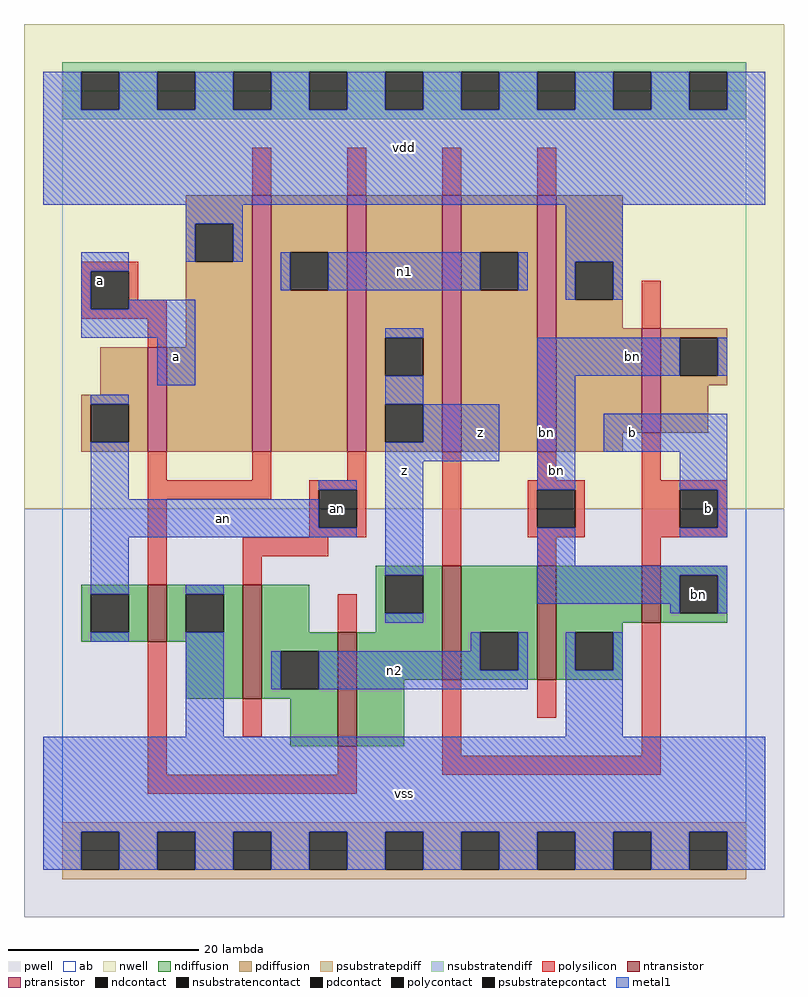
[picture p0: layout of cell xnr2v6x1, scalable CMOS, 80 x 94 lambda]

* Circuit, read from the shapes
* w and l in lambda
.subckt xnr2v6x1 a an b bn n1 n2 vdd vss z
M1 vss a an vss nfet w=6 l=2
M2 n2 an vss vss nfet w=12 l=2
M3 z a n2 vss nfet w=12 l=2
M4 n2 b z vss nfet w=12 l=2
M5 vss bn n2 vss nfet w=12 l=2
M6 bn b vss vss nfet w=6 l=2
M7 vdd a an vdd pfet w=11 l=2
M8 n1 a vdd vdd pfet w=27 l=2
M9 z an n1 vdd pfet w=27 l=2
M10 n1 b z vdd pfet w=27 l=2
M11 vdd bn n1 vdd pfet w=27 l=2
M12 bn b vdd vdd pfet w=11 l=2
.ends

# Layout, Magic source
magic
tech scmos
<< ab >>
rect 0 0 72 80
<< pwell >>
rect -4 -7 76 36
<< nwell >>
rect -4 36 76 87
<< polysilicon >>
rect 20 69 22 74
rect 30 69 32 74
rect 40 69 42 74
rect 50 69 52 74
rect 2 61 8 62
rect 2 57 3 61
rect 7 58 8 61
rect 7 57 11 58
rect 2 56 11 57
rect 9 53 11 56
rect 61 55 63 60
rect 9 39 11 42
rect 20 39 22 42
rect 30 39 32 42
rect 9 37 22 39
rect 26 38 32 39
rect 9 28 11 37
rect 26 34 27 38
rect 31 34 32 38
rect 26 33 32 34
rect 19 31 28 33
rect 19 28 21 31
rect 40 30 42 42
rect 50 39 52 42
rect 61 39 63 44
rect 49 38 55 39
rect 49 34 50 38
rect 54 34 55 38
rect 49 33 55 34
rect 61 38 70 39
rect 61 34 65 38
rect 69 34 70 38
rect 61 33 70 34
rect 50 30 52 33
rect 61 30 63 33
rect 9 8 11 22
rect 29 23 31 27
rect 19 12 21 16
rect 29 8 31 11
rect 40 10 42 18
rect 50 14 52 18
rect 61 10 63 24
rect 40 8 63 10
rect 9 6 31 8
<< ndiffusion >>
rect 33 29 40 30
rect 2 27 9 28
rect 2 23 3 27
rect 7 23 9 27
rect 2 22 9 23
rect 11 27 19 28
rect 11 23 13 27
rect 17 23 19 27
rect 11 22 19 23
rect 13 16 19 22
rect 21 23 26 28
rect 33 25 34 29
rect 38 25 40 29
rect 33 23 40 25
rect 21 21 29 23
rect 21 17 23 21
rect 27 17 29 21
rect 21 16 29 17
rect 24 11 29 16
rect 31 18 40 23
rect 42 23 50 30
rect 42 19 44 23
rect 48 19 50 23
rect 42 18 50 19
rect 52 24 61 30
rect 63 29 70 30
rect 63 25 65 29
rect 69 25 70 29
rect 63 24 70 25
rect 52 23 59 24
rect 52 19 54 23
rect 58 19 59 23
rect 52 18 59 19
rect 31 11 36 18
<< pdiffusion >>
rect 13 66 20 69
rect 13 62 14 66
rect 18 62 20 66
rect 13 53 20 62
rect 4 48 9 53
rect 2 47 9 48
rect 2 43 3 47
rect 7 43 9 47
rect 2 42 9 43
rect 11 42 20 53
rect 22 63 30 69
rect 22 59 24 63
rect 28 59 30 63
rect 22 42 30 59
rect 32 54 40 69
rect 32 50 34 54
rect 38 50 40 54
rect 32 47 40 50
rect 32 43 34 47
rect 38 43 40 47
rect 32 42 40 43
rect 42 63 50 69
rect 42 59 44 63
rect 48 59 50 63
rect 42 42 50 59
rect 52 62 59 69
rect 52 58 54 62
rect 58 58 59 62
rect 52 55 59 58
rect 52 44 61 55
rect 63 54 70 55
rect 63 50 65 54
rect 69 50 70 54
rect 63 49 70 50
rect 63 44 68 49
rect 52 42 59 44
<< metal1 >>
rect -2 78 2 82
rect 6 78 10 82
rect 14 78 18 82
rect 22 78 26 82
rect 30 78 34 82
rect 38 78 42 82
rect 46 78 50 82
rect 54 78 58 82
rect 62 78 66 82
rect 70 78 74 82
rect -2 68 74 78
rect 13 66 19 68
rect 2 61 7 63
rect 13 62 14 66
rect 18 62 19 66
rect 2 57 3 61
rect 23 59 24 63
rect 28 59 44 63
rect 48 59 49 63
rect 53 62 59 68
rect 53 58 54 62
rect 58 58 59 62
rect 7 57 14 58
rect 2 54 14 57
rect 10 49 14 54
rect 34 54 38 55
rect 3 47 7 48
rect 3 37 7 43
rect 34 47 38 50
rect 50 50 65 54
rect 69 50 70 54
rect 38 43 46 47
rect 34 41 46 43
rect 27 38 31 39
rect 3 34 27 37
rect 3 33 31 34
rect 3 27 7 33
rect 34 29 38 41
rect 3 22 7 23
rect 13 27 17 28
rect 50 38 54 50
rect 57 42 70 46
rect 50 30 54 34
rect 65 38 70 42
rect 69 34 70 38
rect 65 33 70 34
rect 50 29 70 30
rect 50 26 65 29
rect 64 25 65 26
rect 69 25 70 29
rect 34 24 38 25
rect 13 12 17 23
rect 43 21 44 23
rect 22 17 23 21
rect 27 19 44 21
rect 48 19 49 23
rect 27 17 49 19
rect 53 19 54 23
rect 58 19 59 23
rect 53 12 59 19
rect -2 2 74 12
rect -2 -2 2 2
rect 6 -2 10 2
rect 14 -2 18 2
rect 22 -2 26 2
rect 30 -2 34 2
rect 38 -2 42 2
rect 46 -2 50 2
rect 54 -2 58 2
rect 62 -2 66 2
rect 70 -2 74 2
<< ntransistor >>
rect 9 22 11 28
rect 19 16 21 28
rect 29 11 31 23
rect 40 18 42 30
rect 50 18 52 30
rect 61 24 63 30
<< ptransistor >>
rect 9 42 11 53
rect 20 42 22 69
rect 30 42 32 69
rect 40 42 42 69
rect 50 42 52 69
rect 61 44 63 55
<< polycontact >>
rect 3 57 7 61
rect 27 34 31 38
rect 50 34 54 38
rect 65 34 69 38
<< ndcontact >>
rect 3 23 7 27
rect 13 23 17 27
rect 34 25 38 29
rect 23 17 27 21
rect 44 19 48 23
rect 65 25 69 29
rect 54 19 58 23
<< pdcontact >>
rect 14 62 18 66
rect 3 43 7 47
rect 24 59 28 63
rect 34 50 38 54
rect 34 43 38 47
rect 44 59 48 63
rect 54 58 58 62
rect 65 50 69 54
<< psubstratepcontact >>
rect 2 -2 6 2
rect 10 -2 14 2
rect 18 -2 22 2
rect 26 -2 30 2
rect 34 -2 38 2
rect 42 -2 46 2
rect 50 -2 54 2
rect 58 -2 62 2
rect 66 -2 70 2
<< nsubstratencontact >>
rect 2 78 6 82
rect 10 78 14 82
rect 18 78 22 82
rect 26 78 30 82
rect 34 78 38 82
rect 42 78 46 82
rect 50 78 54 82
rect 58 78 62 82
rect 66 78 70 82
<< psubstratepdiff >>
rect 0 2 72 3
rect 0 -2 2 2
rect 6 -2 10 2
rect 14 -2 18 2
rect 22 -2 26 2
rect 30 -2 34 2
rect 38 -2 42 2
rect 46 -2 50 2
rect 54 -2 58 2
rect 62 -2 66 2
rect 70 -2 72 2
rect 0 -3 72 -2
<< nsubstratendiff >>
rect 0 82 72 83
rect 0 78 2 82
rect 6 78 10 82
rect 14 78 18 82
rect 22 78 26 82
rect 30 78 34 82
rect 38 78 42 82
rect 46 78 50 82
rect 54 78 58 82
rect 62 78 66 82
rect 70 78 72 82
rect 0 77 72 78
<< labels >>
rlabel polycontact 29 36 29 36 6 an
rlabel ptransistor 51 44 51 44 6 bn
rlabel metal1 12 52 12 52 6 a
rlabel polycontact 4 60 4 60 6 a
rlabel metal1 17 35 17 35 6 an
rlabel metal1 36 6 36 6 6 vss
rlabel metal1 35 19 35 19 6 n2
rlabel metal1 44 44 44 44 6 z
rlabel metal1 52 40 52 40 6 bn
rlabel metal1 36 40 36 40 6 z
rlabel metal1 36 61 36 61 6 n1
rlabel metal1 36 74 36 74 6 vdd
rlabel ndcontact 67 27 67 27 6 bn
rlabel polycontact 68 36 68 36 6 b
rlabel metal1 60 44 60 44 6 b
rlabel metal1 60 52 60 52 6 bn
<< end >>
